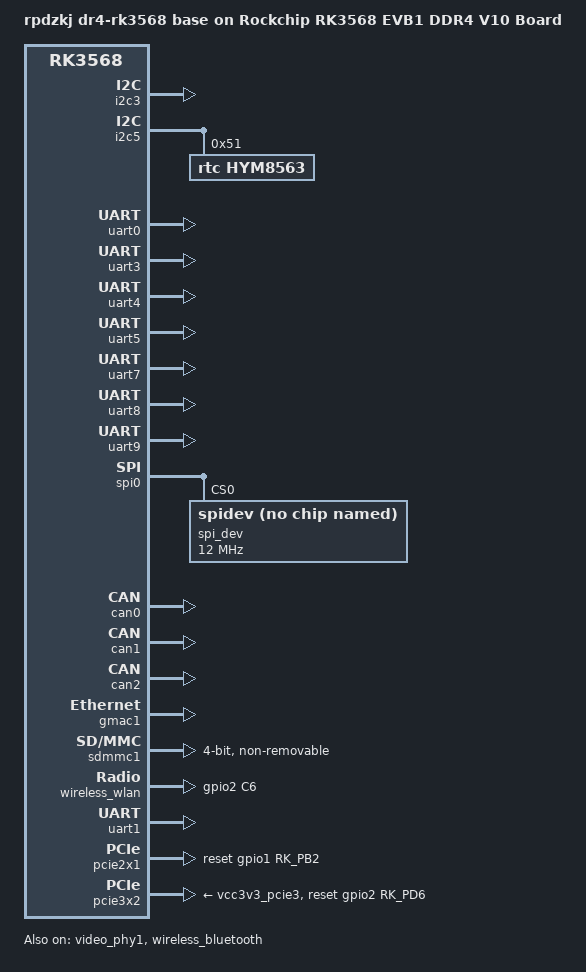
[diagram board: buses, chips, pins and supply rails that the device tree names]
// SPDX-License-Identifier: (GPL-2.0+ OR MIT)
/*
 * Copyright (c) 2020 Rockchip Electronics Co., Ltd.
 *
 */
 
/dts-v1/;
//rk3568-evb1-ddr4-v10
//#include "rk3568-evb1-ddr4-v10.dtsi"

#include "rk3568-evb-rpdzkj-rk809.dtsi"

#include "rk3568-linux.dtsi"

/*************************camera***********************/
//#include "rp-camera-mipi-gc2093-single-2lane.dtsi"
#include "rp-mipi-camera-gc2093-imx334-imx415-rk3568.dtsi"
/***************************************************/


/*************************adc key***********************/
#include "rp-adc-key.dtsi"
/***************************************************/

/*************************gmac***********************/
#include "rp-gmac1-m1-pro-rk3568.dtsi"
/***************************************************/

/*************************CAN**********************/
#include "rp-can0-m1-rk3568.dtsi"
#include "rp-can1-m1-rk3568.dtsi"
#include "rp-can2-m0-rk3568.dtsi"
/**************************************************/

/*********************PCIE**************************/
#include "rk3568-pcie2x1.dtsi"
#include "rk3568-pcie3x2.dtsi"
/***************************************************/

/*************************SATA***********************/
#include "rk3568-sata1.dtsi"
/***************************************************/



#include "lcd-gpio-dr4-rk3568.dtsi"     //gpio config for lcd

/****** LCD config reference **/
/** single HDMI */
//#include "rp-lcd-hdmi.dtsi"

/** mipi0 +hdmi */
//#include "rp-lcd-mipi0-5-720-1280-v2-boxTP.dtsi"
#include "rp-lcd-mipi0-7-720-1280.dtsi"
//#include "rp-lcd-mipi0-8-800-1280-v3.dtsi"
//#include "rp-lcd-mipi0-8-1200-1920.dtsi"
//#include "rp-lcd-mipi0-10-800-1280-v3.dtsi"
//#include "rp-lcd-mipi0-10-1200-1920.dtsi"

/** MIPI2LVDS + HDMI */
//#include "rp-lcd-mipi0tolvds-gm8775c-10-1024-600-raw.dtsi"
//#include "rp-lcd-mipi0tolvds-gm8775c-1920-1080.dtsi"

/** LVDS + HDMI */
//#include "rp-lcd-lvds-7-1024-600-v2.dtsi"


/** EDP + HDMI */
//#include "rp-lcd-edp-13-1920-1080.dtsi"
//#include "rp-lcd-edp-13.3-15.6-1920-1080.dtsi"

/** LVDS + eDP + HDMI */
//#include "rp-lcd-triple-lvds-7-1024-600-edp-13-1920-1080-hdmi.dtsi"




/{
        model = "rpdzkj dr4-rk3568 base on Rockchip RK3568 EVB1 DDR4 V10 Board";
        compatible = "rpdzkj,dr4-rk3568", "rockchip,rk3568";

        
        rp_power{
                status = "okay";
                compatible = "rp_power";
                rp_not_deep_sleep = <1>;

                pinctrl-name = "default";
                pinctrl-0 = <&rp_power>;
                
                //#define GPIO_FUNCTION_OUTPUT 0
                //#define GPIO_FUNCTION_INPUT 1
                //#define GPIO_FUNCTION_IRQ 2
                //#define GPIO_FUNCTION_FLASH 3
                //#define GPIO_FUNCTION_OUTPUT_CTRL 4

                /**
                 * gpioxxx {                    // the node name will display on /proc/rp_power, you can define any character string
                 *      gpio_num = <>;          // gpio you want ot control
                 *      gpio_function = <>;     // function of current gpio, refer to above define.
                 * };
                 */

                led {	//system led
                        gpio_num = <&gpio0 RK_PD6 GPIO_ACTIVE_HIGH>;
                        gpio_function = <4>;
                };
                fan {	//fan
                        gpio_num = <&gpio3 RK_PB6 GPIO_ACTIVE_HIGH>;
                        gpio_function = <4>;
                };

                otg_mode {       //OTG SWITCH, high is mean otg_id to 0, force host mode
                        gpio_num = <&gpio1 RK_PA4 GPIO_ACTIVE_LOW>;
                        gpio_function = <0>;
                };
                otg_power {       //usb otg power
                        gpio_num = <&gpio0 RK_PA5 GPIO_ACTIVE_HIGH>;
                        gpio_function = <4>;
                };

                hub_rst {	//usb hub
                        gpio_num = <&gpio0 RK_PB0 GPIO_ACTIVE_HIGH>;
                        gpio_function = <4>;
                };
                usb_pwr0 {       //host0 power en
                        gpio_num = <&gpio1 RK_PD0 GPIO_ACTIVE_HIGH>;
                        gpio_function = <4>;
                };
                usb_pwr1 {       //host1 power en
                        gpio_num = <&gpio1 RK_PD1 GPIO_ACTIVE_HIGH>;
                        gpio_function = <4>;
                };
                usb_pwr2 {       //host2 power en
                        gpio_num = <&gpio1 RK_PD2 GPIO_ACTIVE_HIGH>;
                        gpio_function = <4>;
                };
                usb_pwr3 {       //host3 power en
                        gpio_num = <&gpio1 RK_PD4 GPIO_ACTIVE_HIGH>;
                        gpio_function = <4>;
                };
                usb_pwr4 {       //host4 power en
                        gpio_num = <&gpio1 RK_PD3 GPIO_ACTIVE_HIGH>;
                        gpio_function = <4>;
                };

                spk_en {       //spk enable
                        gpio_num = <&gpio3 RK_PA6 GPIO_ACTIVE_HIGH>;
                        gpio_function = <4>;
                };
                spk_mute {       //spk mute
                        gpio_num = <&gpio3 RK_PA7 GPIO_ACTIVE_LOW>;
                        gpio_function = <4>;
                };
                
                vdd_3g {    //4G module power en
                        gpio_num = <&gpio3 RK_PC6 GPIO_ACTIVE_HIGH>;
                        gpio_function = <4>;
                };
                
        };

        rp_gpio{
                status = "okay";
                compatible = "rp_gpio";
                
                /**
                 * gpioxxx {                    // the node name will display on /proc/rp_gpio, you can define any character string
                 *      gpio_num = <>;          // gpio you want ot control
                 *      gpio_function = <>;     // function of current gpio： 0 output, 1 input, 3 blink
                 *      gpio_event = <KEY_F14>; // optional property used to define gpio report event such as KEY_F14, only works incase of gpio_function = <1>;
                 *    };
                 */
                gpio0a0 {
                        gpio_num = <&gpio0 RK_PA0 GPIO_ACTIVE_LOW>;
                        gpio_function = <0>;
                };

                gpio3c1 {
                        gpio_num = <&gpio3 RK_PC1 GPIO_ACTIVE_LOW>;
                        gpio_function = <0>;
                };

                gpio4c4 {
                        gpio_num = <&gpio4 RK_PC4 GPIO_ACTIVE_LOW>;
                        gpio_function = <0>;
                };

                gpio0c2 {
                        gpio_num = <&gpio0 RK_PC2 GPIO_ACTIVE_LOW>;
                        gpio_function = <0>;
                };

                gpio2d2 {
                        gpio_num = <&gpio2 RK_PD2 GPIO_ACTIVE_LOW>;
                        gpio_function = <0>;
                };

                gpio2b2 {
                        gpio_num = <&gpio2 RK_PB2 GPIO_ACTIVE_LOW>;
                        gpio_function = <0>;
                };

                gpio3d0 {
                        gpio_num = <&gpio3 RK_PD0 GPIO_ACTIVE_LOW>;
                        gpio_function = <0>;
                };

                gpio3d1 {
                        gpio_num = <&gpio0 RK_PD1 GPIO_ACTIVE_LOW>;
                        gpio_function = <0>;
                };

                gpio3d2 {
                        gpio_num = <&gpio3 RK_PD2 GPIO_ACTIVE_LOW>;
                        gpio_function = <0>;
                };

                gpio3d3 {
                        gpio_num = <&gpio3 RK_PD3 GPIO_ACTIVE_LOW>;
                        gpio_function = <0>;
                };

                gpio3d4 {
                        gpio_num = <&gpio3 RK_PD4 GPIO_ACTIVE_LOW>;
                        gpio_function = <0>;
                };

                gpio3d5 {
                        gpio_num = <&gpio3 RK_PD5 GPIO_ACTIVE_LOW>;
                        gpio_function = <0>;
                };

        };

};


&pmu_io_domains {
        status = "okay";
        pmuio2-supply = <&vcc3v3_pmu>;
        vccio1-supply = <&vccio_acodec>;
        vccio3-supply = <&vccio_sd>;
        vccio4-supply = <&vcc_1v8>;
        vccio5-supply = <&vcc_3v3>;
        vccio6-supply = <&vcc_3v3>;
        vccio7-supply = <&vcc_3v3>;
};

&i2c3 {
	status = "okay";
};


&i2c5 {
	status = "okay";
        rtc@51 {
                status = "okay";
                compatible = "rtc,hym8563";
                reg = <0x51>;
        };
};

&uart0 {
	status = "okay";
};

&uart3 {
	status = "okay";
	pinctrl-names = "default";
	pinctrl-0 = <&uart3m1_xfer>;
};

&uart4 {
	status = "okay";
	pinctrl-names = "default";
	pinctrl-0 = <&uart4m1_xfer>;
};

&uart5 {
    status = "okay";
	pinctrl-names = "default";
	pinctrl-0 = <&uart5m1_xfer>;
};

&uart7 {
	status = "okay";
	pinctrl-names = "default";
	pinctrl-0 = <&uart7m1_xfer>;
};

&uart8 {
    status = "okay";
	pinctrl-names = "default";
	pinctrl-0 = <&uart8m1_xfer>;
};

&uart9 {
	status = "okay";
	pinctrl-names = "default";
	pinctrl-0 = <&uart9m1_xfer>;
};

&spi0 {
	status = "okay";
    /** redefine pins for cs1 used to be pwm5 */
    pinctrl-0 = <&spi0m0_cs0 &spi0m0_pins>;
    pinctrl-1 = <&spi0m0_cs0 &spi0m0_pins_hs>;

    spi_dev@0 {
        compatible = "rockchip,spidev";
        reg = <0>;
        spi-max-frequency = <12000000>;
        spi-lsb-first;
    };
};


/** can bus config */
&can0 {
    compatible = "rockchip,can-1.0";
    status = "okay";
    pinctrl-names = "default";
    pinctrl-0 = <&can0m0_pins>;
};

&can1 {
    compatible = "rockchip,can-1.0";
    assigned-clocks = <&cru CLK_CAN1>;
    assigned-clock-rates = <150000000>;
    pinctrl-names = "default";
    pinctrl-0 = <&can1m1_pins>;
    status = "okay";
};

&can2 {
    compatible = "rockchip,can-1.0";
    assigned-clocks = <&cru CLK_CAN2>;
    assigned-clock-rates = <150000000>;
    pinctrl-names = "default";
    pinctrl-0 = <&can2m0_pins>;
    status = "okay";
};


&i2c1 {
    /** disabled for used to be can0 */
    status = "disabled";
};

&video_phy1 {
    status = "okay";
};

/******** must be close,if not system no run ******/
&dmc {
       status = "disabled";
};

&dfi {
       status = "disabled";
};

/*********************************************/



&pwm7 {
    /****** disable for gpio used to be spi0_cs0 */
    status = "disabled";
};

/** LCD backlight
 * By default, we all use backlight4 node whether it is mipi, lvds or edp,
 * but when mipi1(2lvds) ports used, pwm need the pwm5,
 * when edp port used, pwm need the pwm10, so fix backlight node.
 * and if mutiple lcd used, we just use the backlight5, backlight10.
 */ 
/** LCD configuration */
#if defined(RP_SINGLE_LCD)

    #if defined(RP_MIPI02LVDS)
    &dsi0_panel {
        enable-gpios = <&gpio4 RK_PD2 GPIO_ACTIVE_LOW>; //raw interface is inverse, so set to low
    };
        #if defined(RP_DUALLVDS)
        // dual lvds donot need invert
        &backlight4 {
            pwms = <&pwm5 0 25000 0>;
        };
        #else
        //pwm and enable pin may be inverted if use mipi to single lvds
        &backlight4 {
            pwms = <&pwm5 0 25000 1>;
        };
        #endif

    #elif defined(RP_EDP_USED)
    &backlight4 {
        pwms = <&pwm10 0 25000 0>;
    };
    #endif
    
#else
&edp_panel {
    backlight = <&backlight10>;
};
    #ifdef RP_MIPI02LVDS
    &dsi0_panel {
        backlight = <&backlight5>;
    };
    #endif
#endif    


/** Ethernet config*/
&gmac1 {
    tx_delay = <0x49>;
    rx_delay = <0x29>;
    status = "okay";
};


/** headphone detect pin */
&rk_headset {
    pinctrl-0 = <&hp_det>;
    headset_gpio = <&gpio2 RK_PD3 GPIO_ACTIVE_HIGH>;
};


/** wifi/bt config */
&sdio_pwrseq {
    pinctrl-0 = <&wifi_enable_h>;
    reset-gpios = <&gpio2 RK_PB7 GPIO_ACTIVE_LOW>;
};

&sdmmc2 {
    status = "disabled";
};

&sdmmc1 {
    status = "okay";
    
	max-frequency = <150000000>;
	supports-sdio;
	bus-width = <4>;
	disable-wp;
	cap-sd-highspeed;
	cap-sdio-irq;
	keep-power-in-suspend;
	mmc-pwrseq = <&sdio_pwrseq>;
	non-removable;
	sd-uhs-sdr104;

    pinctrl-names = "default";
    pinctrl-0 = <&sdmmc1_bus4 &sdmmc1_cmd &sdmmc1_clk>;
};

&wireless_wlan {
	pinctrl-0 = <&wifi_host_wake_irq>;
    WIFI,host_wake_irq = <&gpio2 RK_PC6 GPIO_ACTIVE_HIGH>;
};

&wireless_bluetooth {
    uart_rts_gpios = <&gpio2 RK_PB5 GPIO_ACTIVE_LOW>;
    pinctrl-0 = <&uart1m0_rtsn>;
    pinctrl-1 = <&uart1_gpios>;
    BT,reset_gpio = <&gpio2 RK_PC0 GPIO_ACTIVE_HIGH>;
    BT,wake_gpio = <&gpio0 RK_PD5 GPIO_ACTIVE_HIGH>;
    BT,wake_host_irq = <&gpio0 RK_PD4 GPIO_ACTIVE_HIGH>;
    status = "okay";
};

&uart1 {
    status = "okay";
    pinctrl-names = "default";
    pinctrl-0 = <&uart1m0_xfer &uart1m0_ctsn>;
};

/** pcie2x1 */
&vcc3v3_pcie {
    /**
     * delete for gpio used to be bt_wake_host
     * and the vcc3v3_pcie need not control on our board.
     */
    /delete-property/ gpio;
};

&pcie2x1 {
    status = "okay";
    
    reset-gpios = <&gpio1 RK_PB2 GPIO_ACTIVE_HIGH>;
};



/** pcie3x2 */
&pcie3x2 {
    status = "okay";
    reset-gpios = <&gpio2 RK_PD6 GPIO_ACTIVE_HIGH>;
    vpcie3v3-supply = <&vcc3v3_pcie3>;
};

&vcc3v3_pcie3 {
    pinctrl-names = "default";
    pinctrl-0 = <&pcie3_3v3>;
    gpio = <&gpio3 RK_PA2 GPIO_ACTIVE_HIGH>;
    
    startup-delay-us = <8000>; //5000 is faild
};

/** mipi camera config */
&vcc_camera {
    gpio = <&gpio2 RK_PC1 GPIO_ACTIVE_HIGH>;
    pinctrl-names = "default";
    pinctrl-0 = <&camera_en>;
};
&gc2093 {
    pinctrl-names = "default";
    pinctrl-0 = <&cif_clk>;
    pinctrl-1 = <&camera_ctl>;
    pwdn-gpios = <&gpio3 RK_PC7 GPIO_ACTIVE_HIGH>;
    reset-gpios = <&gpio2 RK_PB1 GPIO_ACTIVE_LOW>;
};
&imx334{
     pwdn-gpios = <&gpio3 RK_PC7 GPIO_ACTIVE_HIGH>;
     reset-gpios = <&gpio2 RK_PB1 GPIO_ACTIVE_HIGH>;
};

&imx415{
     pwdn-gpios = <&gpio3 RK_PC7 GPIO_ACTIVE_HIGH>;
     reset-gpios = <&gpio2 RK_PB1 GPIO_ACTIVE_LOW>;
};


&pinctrl {
    rp_pins {
        rp_power: rp-power {
            rockchip,pins =
                /* host4 power en */
                <1 RK_PD3 RK_FUNC_GPIO &pcfg_pull_up>;
        };
    };
    
	headphone {     //redefine hp detect pin
        hp_det: hp-det {
            rockchip,pins =
                <2 RK_PD3 RK_FUNC_GPIO &pcfg_pull_down>;
		};
	};
    
    sdio-pwrseq {   //redefine sdio power pin     
        wifi_enable_h: wifi-enable-h {
            rockchip,pins = <2 RK_PB7 RK_FUNC_GPIO &pcfg_pull_none>;
        };
    };
    wireless-wlan { //redefine wlan wake host pin
        wifi_host_wake_irq: wifi-host-wake-irq {
            rockchip,pins = <2 RK_PC6 0 &pcfg_pull_down>;
        };
    };  
    wireless-bluetooth {
        uart1_gpios: uart1-gpios {
            rockchip,pins = <2 RK_PB5 0 &pcfg_pull_none>;
        };
    };
    
    vcc3v3-pcie3 {
        pcie3_3v3: pcie3-3v3 {
            rockchip,pins =
                /** power supply enable pin */
                <3 RK_PA2 RK_FUNC_GPIO &pcfg_pull_none>;
        };
    };
    
    camera-pins {
        camera_en: camera-en {
            rockchip,pins =
                /** gc2093 camera en */
                <2 RK_PC1 RK_FUNC_GPIO &pcfg_pull_none>;
        };
        camera_ctl: camera-ctl {
            rockchip,pins =
                /** gc2093 camera power down */
                <3 RK_PC7 RK_FUNC_GPIO &pcfg_pull_none>,
                /** gc2093 camera reset */
                <2 RK_PB0 RK_FUNC_GPIO &pcfg_pull_none>;
        };
    };
};



&wireless_bluetooth {
		pinctrl-0 = <&uart1m0_rtsn>;
		pinctrl-1 = <&uart1_gpios>;
                BT,reset_gpio    = <&gpio2 RK_PC0 GPIO_ACTIVE_HIGH>;
                BT,wake_gpio     = <&gpio0 RK_PD5 GPIO_ACTIVE_HIGH>;
                BT,wake_host_irq = <&gpio0 RK_PD4 GPIO_ACTIVE_HIGH>;
                status = "okay";
};
